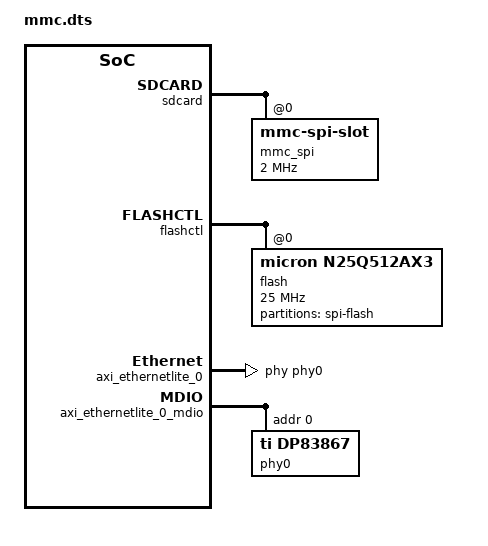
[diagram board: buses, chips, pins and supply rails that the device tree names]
&sdcard { 	
  mmc_spi@0 {
    compatible = "mmc-spi-slot";
    spi-max-frequency = < 2000000 >;
    reg = <0>;
    voltage-ranges = < 3300 3300 >;
  };
};
&flashctl {
  flash@0 {
    compatible = "micron,n25q512ax3", "jedec,spi-nor", "st,n25q512ax3", "n25q512ax3", "spi-nor", "n25q512a", "micron,n25q512a","st,n25q512a";
    reg = <0x0>;
    spi-max-frequency = <25000000>;
    m25p,fast-read;
    #address-cells = <1>;
    #size-cells = <1>;
    partitions{
      compatible = "fixed-partitions";
      #address-cells = <1>;
      #size-cells = <1>;
      partition@0x002e0000 {
        label = "spi-flash";
        reg = <0x002e0000 0x10000000>;
      };
    };
  };
};
&axi_ethernetlite_0 {
  phy-handle = <&phy0>;
};

&axi_ethernetlite_0_mdio {
	#address-cells = <1>;
	#size-cells = <0>;
	phy0: phy@0 {
		reg = <0>;
		compatible = "ti,dp83867";
		device_type = "ethernet-phy";
		ti,rx-internal-delay = <0x1>;
		ti,tx-internal-delay = <0x1>;
		ti,fifo-depth = <0x00>;
	};
};
